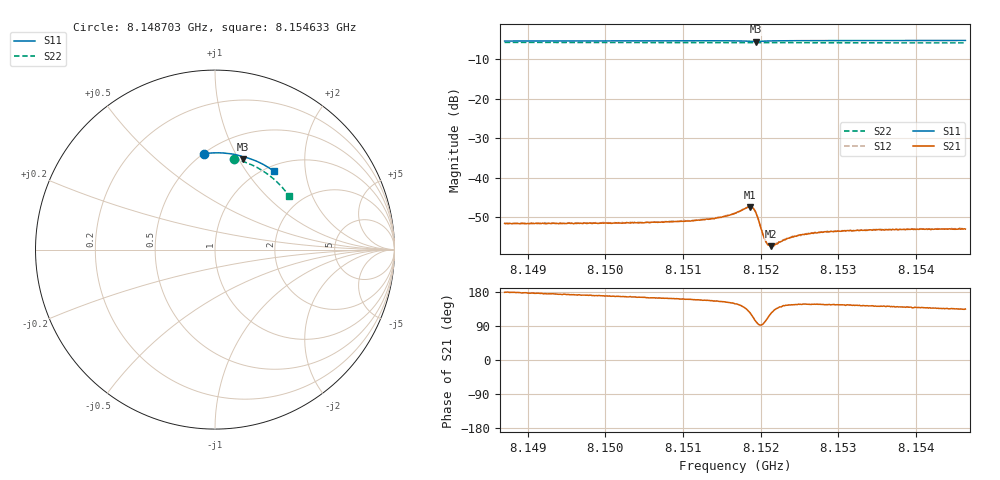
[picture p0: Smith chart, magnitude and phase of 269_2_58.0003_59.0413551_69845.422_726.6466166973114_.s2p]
#  HZ  S  RI  R  50.00
! Rohde & Schwarz Vector Network Analyzer
! Rohde-Schwarz,ZNB20-2Port,1311601062101988,3.16
! Created: UTC 3/21/2024, 1:02:18 AM
! freq[Hz]  re:S11  im:S11  re:S21  im:S21  re:S12  im:S12  re:S22  im:S22
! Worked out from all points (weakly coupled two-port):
!   401 points, 8.148703 GHz to 8.154633 GHz, reference 50 ohm
!   highest |S21| = -47.39 dB at 8.151861 GHz (marker M1); lowest = -57.3 dB at 8.152128 GHz (marker M2)
!   lowest |S11| = -5.5 dB at 8.151935 GHz (marker M3), VSWR 3.24, Z = 37.3 + j52.2 ohm
!   |S11| at or under -10 dB: nowhere
!   |S22| runs from -5.9 to -5.7 dB; largest |S21 - S12| = 0.00012
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8.1487032e9  -0.0607 0.5341  -0.00264 6.53e-05  -0.00265 9.35e-05  0.1043 0.5055
8.1496965e9  0.00838 0.5391  -0.00261 0.000399  -0.00265 0.000467  0.1665 0.4876
8.1506897e9  0.0776 0.5352  -0.00263 0.000769  -0.00261 0.00082  0.2256 0.4619
8.1511048e9  0.1066 0.5308  -0.00267 0.000982  -0.0027 0.00107  0.2491 0.4491
8.1513272e9  0.1224 0.5276  -0.00275 0.00114  -0.00274 0.00123  0.2616 0.4418
8.1514903e9  0.1341 0.5246  -0.00284 0.00136  -0.00286 0.0014  0.2703 0.4361
8.1516682e9  0.1475 0.5199  -0.00301 0.00187  -0.00305 0.00188  0.2799 0.4297
8.1518609e9  0.1592 0.5082  -0.00244 0.0035  -0.0024 0.00362  0.2899 0.4223
8.1519054e9  0.158 0.5054  -0.0015 0.0038  -0.00142 0.00383  0.292 0.4205
8.151935e9  0.1564 0.5051  -0.000778 0.00358  -0.000744 0.00359  0.2933 0.4196
8.1519647e9  0.1555 0.5067  -0.000271 0.00305  -0.000199 0.0031  0.2947 0.4186
8.152024e9  0.1579 0.5107  -0.000136 0.00195  -0.000105 0.00197  0.298 0.4164
8.1520536e9  0.1602 0.5119  -0.000304 0.00161  -0.000273 0.00165  0.2994 0.4155
8.1520981e9  0.1641 0.5129  -0.000562 0.00128  -0.000581 0.00128  0.3018 0.4138
8.1521277e9  0.1668 0.5129  -0.000725 0.00115  -0.000755 0.0012  0.3035 0.4127
8.152187e9  0.1718 0.5127  -0.000995 0.00103  -0.001 0.00103  0.3065 0.4103
8.1523797e9  0.1865 0.5093  -0.00143 0.000993  -0.00144 0.00102  0.3163 0.4027
8.1525132e9  0.1961 0.5065  -0.0016 0.00103  -0.00152 0.00105  0.3227 0.3972
8.1526614e9  0.2061 0.5029  -0.00167 0.00108  -0.00167 0.00112  0.33 0.3908
8.1530913e9  0.2342 0.4914  -0.00172 0.00125  -0.00174 0.00124  0.35 0.3723
8.1536547e9  0.2695 0.4741  -0.00174 0.00136  -0.00172 0.00139  0.3749 0.3463
8.1546331e9  0.3268 0.4381  -0.00157 0.0016  -0.00156 0.00166  0.4131 0.2973
